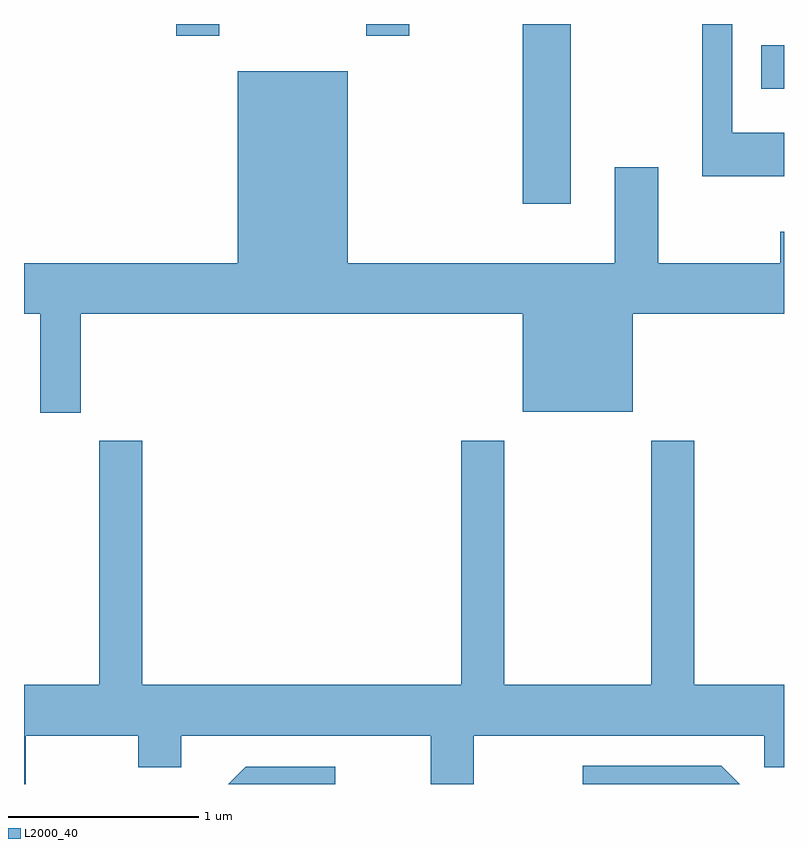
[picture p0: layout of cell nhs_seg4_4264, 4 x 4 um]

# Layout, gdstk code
import gdstk
lib = gdstk.Library(unit=1e-6, precision=1e-09)
def R(c, l, rs):  # rectangles x0, y0, x1, y1
    for r in rs: c.add(gdstk.rectangle(r[:2], r[2:], *l))
def P(c, l, *ps):  # polygons
    for p in ps: c.add(gdstk.Polygon(p, *l))
L2000_40 = (2000, 40)

nhs_seg4_4264 = lib.new_cell('nhs_seg4_4264')
R(nhs_seg4_4264, L2000_40, [(312.236,1353.036,312.489,1353.982), (313.491,1353.641,313.611,1353.869), (310.411,1353.921,310.639,1353.982), (311.411,1353.921,311.639,1353.982)])
P(nhs_seg4_4264, L2000_40, [(313.611,1353.409),(313.339,1353.409),(313.339,1353.982),(313.181,1353.982),(313.181,1353.181),(313.611,1353.181)],
  [(309.909,1352.456),(312.236,1352.456),(312.236,1351.941),(312.814,1351.941),(312.814,1352.456),(313.611,1352.456),(313.611,1352.889),(313.591,1352.889),(313.591,1352.724),(312.949,1352.724),(312.949,1353.229),(312.721,1353.229),(312.721,1352.724),(311.314,1352.724),(311.314,1353.734),(310.736,1353.734),(310.736,1352.724),(309.611,1352.724),(309.611,1352.456),(309.696,1352.456),(309.696,1351.936),(309.909,1351.936)],
  [(309.619,1350.236),(310.211,1350.236),(310.211,1350.071),(310.439,1350.071),(310.439,1350.236),(311.751,1350.236),(311.751,1349.982),(311.979,1349.982),(311.979,1350.236),(313.506,1350.236),(313.506,1350.071),(313.611,1350.071),(313.611,1350.504),(313.139,1350.504),(313.139,1351.789),(312.911,1351.789),(312.911,1350.504),(312.139,1350.504),(312.139,1351.789),(311.911,1351.789),(311.911,1350.504),(310.234,1350.504),(310.234,1351.789),(310.006,1351.789),(310.006,1350.504),(309.611,1350.504),(309.611,1349.982),(309.619,1349.982)],
  [(313.282,1350.079),(312.551,1350.079),(312.551,1349.982),(313.379,1349.982)],
  [(311.248,1350.074),(310.779,1350.074),(310.686,1349.982),(311.248,1349.982)])

lib.write_gds('nhs_seg4_4264.gds')
